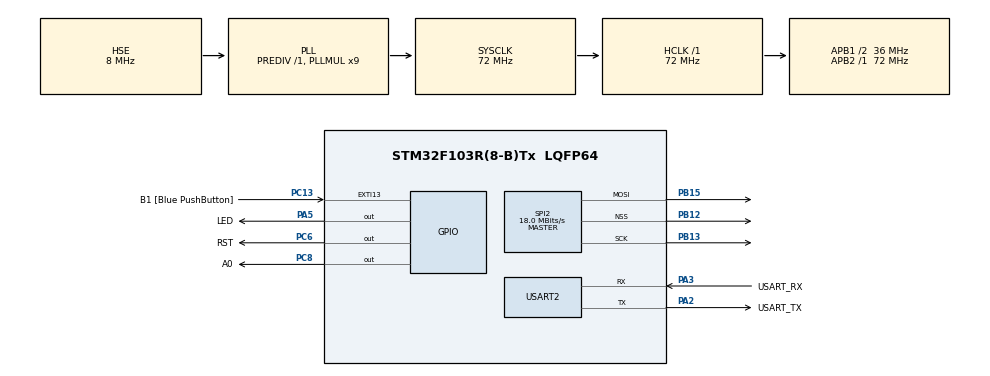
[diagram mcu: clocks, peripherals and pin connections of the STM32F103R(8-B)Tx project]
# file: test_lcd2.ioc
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Mcu.Family=STM32F1
Mcu.Name=STM32F103R(8-B)Tx
Mcu.Package=LQFP64
NVIC.EXTI15_10_IRQn=true\:0\:0\:false\:false\:true\:true\:true\:true
NVIC.PriorityGroup=NVIC_PRIORITYGROUP_4
PA13.GPIO_Label=TMS
PA13.Mode=Serial_Wire
PA13.Signal=SYS_JTMS-SWDIO
PA14.GPIO_Label=TCK
PA14.Mode=Serial_Wire
PA14.Signal=SYS_JTCK-SWCLK
PA2.GPIO_Label=USART_TX
PA2.GPIO_Mode=GPIO_MODE_AF_PP
PA2.GPIO_PuPd=GPIO_NOPULL
PA2.GPIO_Speed=GPIO_SPEED_FREQ_LOW
PA2.Mode=Asynchronous
PA2.Signal=USART2_TX
PA3.GPIO_Label=USART_RX
PA3.GPIO_Mode=GPIO_MODE_AF_PP
PA3.GPIO_PuPd=GPIO_NOPULL
PA3.GPIO_Speed=GPIO_SPEED_FREQ_LOW
PA3.Mode=Asynchronous
PA3.Signal=USART2_RX
PA5.GPIO_Label=LED
PA5.GPIO_ModeDefaultOutputPP=GPIO_MODE_OUTPUT_PP
PA5.GPIO_PuPd=GPIO_NOPULL
PA5.GPIO_Speed=GPIO_SPEED_FREQ_LOW
PA5.Signal=GPIO_Output
PB12.Mode=NSS_Signal_Hard_Output
PB12.Signal=SPI2_NSS
PB13.Mode=TX_Only_Simplex_Unidirect_Master
PB13.Signal=SPI2_SCK
PB15.Mode=TX_Only_Simplex_Unidirect_Master
PB15.Signal=SPI2_MOSI
PB3.GPIO_Label=SWO
PB3.Signal=SYS_JTDO-TRACESWO
PC13-TAMPER-RTC.GPIO_Label=B1 [Blue PushButton]
PC13-TAMPER-RTC.GPIO_PuPd=GPIO_NOPULL
PC13-TAMPER-RTC.Signal=GPXTI13
PC14-OSC32_IN.Mode=LSE-External-Oscillator
PC14-OSC32_IN.Signal=RCC_OSC32_IN
PC15-OSC32_OUT.Mode=LSE-External-Oscillator
PC15-OSC32_OUT.Signal=RCC_OSC32_OUT
PC6.GPIO_Label=RST
PC6.Signal=GPIO_Output
PC8.GPIO_Label=A0
PC8.Signal=GPIO_Output
PD0-OSC_IN.Mode=HSE-External-Clock-Source
PD0-OSC_IN.Signal=RCC_OSC_IN
PD1-OSC_OUT.Mode=HSE-External-Clock-Source
PD1-OSC_OUT.Signal=RCC_OSC_OUT
ProjectManager.HeapSize=0x200
ProjectManager.StackSize=0x400
ProjectManager.TargetToolchain=STM32CubeIDE
RCC.AHBFreq_Value=72000000
RCC.APB1CLKDivider=RCC_HCLK_DIV2
RCC.APB1Freq_Value=36000000
RCC.APB1TimFreq_Value=72000000
RCC.APB2Freq_Value=72000000
RCC.APB2TimFreq_Value=72000000
RCC.HCLKFreq_Value=72000000
RCC.PLLMUL=RCC_PLL_MUL9
RCC.PLLSourceVirtual=RCC_PLLSOURCE_HSE
RCC.RTCClockSelection=RCC_RTCCLKSOURCE_LSE
RCC.SYSCLKFreq_VALUE=72000000
RCC.SYSCLKSource=RCC_SYSCLKSOURCE_PLLCLK
RCC.USBFreq_Value=72000000
SPI2.CalculateBaudRate=18.0 MBits/s
SPI2.Direction=SPI_DIRECTION_2LINES
SPI2.Mode=SPI_MODE_MASTER
SPI2.VirtualNSS=VM_NSSHARD
SPI2.VirtualType=VM_MASTER
USART2.VirtualMode=VM_ASYNC
board=NUCLEO-F103RB

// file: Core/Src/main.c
/* USER CODE BEGIN Header */
/**
  ******************************************************************************
  * @file           : main.c
  * @brief          : Main program body
  ******************************************************************************
  * @attention
  *
  * Copyright (c) 2025 STMicroelectronics.
  * All rights reserved.
  *
  * This software is licensed under terms that can be found in the LICENSE file
  * in the root directory of this software component.
  * If no LICENSE file comes with this software, it is provided AS-IS.
  *
  ******************************************************************************
  */
/* USER CODE END Header */
#include "main.h"
#include "spi.h"
#include "usart.h"
#include "gpio.h"

/* USER CODE BEGIN Includes */
#include "lcd.h"

/* USER CODE END Includes */

// /* Private define ------------------------------------------------------------*/

/* USER CODE BEGIN PV */
unsigned char NHD[] = {
    0x00, 0x00, 0x00, 0x00, 0x00, 0x00, 0x00, 0x00, 0x00, 0x00, 0x00, 0x00, 0x00, 0x00, 0x00, 0x00,
    0x00, 0x00, 0x00, 0x00, 0x00, 0x00, 0x00, 0x00, 0x00, 0x00, 0x00, 0x00, 0x00, 0x00, 0x00, 0x00,
    0x00, 0x00, 0x00, 0x00, 0x00, 0x00, 0x00, 0x00, 0x00, 0x00, 0x00, 0x00, 0x00, 0x00, 0x00, 0x00,
    0x00, 0x00, 0x00, 0x00, 0x00, 0x00, 0x00, 0x00, 0x00, 0x00, 0x00, 0x00, 0x00, 0x00, 0x00, 0x00,
    0x00, 0x00, 0x00, 0x00, 0x00, 0x00, 0x00, 0x00, 0x00, 0x00, 0x00, 0x00, 0x00, 0x00, 0x00, 0x00,
    0x00, 0x00, 0x00, 0x00, 0x00, 0x00, 0x00, 0x00, 0x00, 0x00, 0x00, 0x00, 0x00, 0x00, 0x00, 0x00,
    0x00, 0x00, 0x00, 0x00, 0x00, 0x00, 0x00, 0x00, 0x00, 0x00, 0x00, 0x00, 0x00, 0x00, 0x00, 0x00,
    0x00, 0x00, 0x00, 0x00, 0x00, 0x00, 0x00, 0x00, 0x00, 0x00, 0x00, 0x00, 0x00, 0x00, 0x00, 0x00,
    0x00, 0x00, 0x00, 0x00, 0x00, 0x00, 0x00, 0x00, 0x00, 0x00, 0x00, 0x00, 0x00, 0x00, 0x00, 0x00,
    0x00, 0x00, 0x00, 0x00, 0x00, 0x00, 0x00, 0x00, 0x00, 0x00, 0x00, 0x00, 0x00, 0x00, 0x00, 0x00,
    0x00, 0x00, 0x00, 0x00, 0x00, 0x00, 0x00, 0x00, 0x00, 0x00, 0x00, 0x00, 0x00, 0x00, 0x00, 0x00,
    0x00, 0x00, 0x00, 0x00, 0x00, 0x00, 0x00, 0x00, 0x00, 0x00, 0x00, 0x00, 0x00, 0x00, 0x00, 0x00,
    0x00, 0x00, 0x00, 0x00, 0x00, 0x00, 0x00, 0x00, 0x00, 0x00, 0x00, 0x00, 0x00, 0x00, 0x00, 0x00,
    0x00, 0x00, 0x00, 0x00, 0x00, 0x00, 0x00, 0x00, 0x00, 0x00, 0x00, 0x00, 0x00, 0x00, 0x00, 0x00,
    0x00, 0x00, 0x00, 0x00, 0x00, 0x00, 0x00, 0x00, 0x00, 0x00, 0x00, 0x00, 0x00, 0x00, 0x00, 0x00,
    0x00, 0x00, 0x00, 0x00, 0x00, 0x00, 0x00, 0x00, 0x00, 0x00, 0x00, 0x00, 0x00, 0x00, 0x00, 0x00,
    0x00, 0x00, 0x00, 0x00, 0x00, 0x00, 0x00, 0x00, 0x00, 0x00, 0x00, 0x00, 0x00, 0x00, 0x00, 0x00,
    0x00, 0x00, 0x00, 0x00, 0x00, 0x00, 0x00, 0x00, 0x00, 0x00, 0x00, 0x00, 0x00, 0x00, 0x00, 0x00,
    0x00, 0x00, 0x00, 0x00, 0x00, 0x00, 0x00, 0x00, 0x00, 0x00, 0x00, 0x00, 0x00, 0x00, 0x00, 0x00,
    0x00, 0x00, 0x00, 0x00, 0x00, 0x00, 0x00, 0x00, 0x00, 0x00, 0x00, 0x00, 0x00, 0x00, 0x00, 0x00,
    0x00, 0x00, 0x00, 0x00, 0x00, 0x00, 0x00, 0x00, 0x00, 0x00, 0x00, 0x00, 0x00, 0x00, 0x00, 0x00,
    0x00, 0x00, 0x00, 0x00, 0x00, 0x00, 0x00, 0x00, 0x00, 0x00, 0x00, 0x00, 0x00, 0x00, 0x00, 0x00,
    0x00, 0x00, 0x00, 0x00, 0x00, 0x00, 0x00, 0x00, 0x00, 0x00, 0x00, 0x00, 0x00, 0x00, 0x00, 0x00,
    0x00, 0x00, 0x00, 0x00, 0x00, 0x00, 0x00, 0x00, 0x00, 0x00, 0x00, 0x00, 0x00, 0x00, 0x00, 0x00,
    0x00, 0x00, 0x00, 0x00, 0x00, 0x00, 0x00, 0x00, 0x00, 0x00, 0x00, 0x00, 0x00, 0x00, 0x00, 0x00,
    0x00, 0x80, 0x80, 0x80, 0x80, 0x00, 0x00, 0x1E, 0x1E, 0x3F, 0x3F, 0x1E, 0x04, 0x0C, 0x8C, 0x4C,
    0x4C, 0x2C, 0x6C, 0x6C, 0x6C, 0x6C, 0x6C, 0x4C, 0x00, 0xFC, 0x1C, 0x38, 0xC0, 0xFC, 0xFC, 0x00,
    0x00, 0x00, 0xF8, 0xFC, 0x24, 0x24, 0x24, 0x24, 0x00, 0x00, 0x00, 0x1C, 0xF8, 0x80, 0xE0, 0x3C,
    0x3C, 0xE0, 0x80, 0xE0, 0x3C, 0x00, 0x00, 0x00, 0xFC, 0xFC, 0x20, 0x20, 0x20, 0xFC, 0x00, 0x00,
    0x00, 0x00, 0xE0, 0xFC, 0xCC, 0xFC, 0xE0, 0x80, 0x00, 0x00, 0x04, 0x3C, 0xF0, 0x80, 0xC0, 0x78,
    0x1C, 0x04, 0x00, 0x60, 0xF8, 0xAC, 0x24, 0x24, 0x24, 0x00, 0x00, 0x00, 0x00, 0xFC, 0x1C, 0x38,
    0xE0, 0x80, 0xFC, 0x00, 0x00, 0x00, 0x00, 0x00, 0x00, 0x00, 0x00, 0x00, 0x00, 0x00, 0x00, 0x00,
    0x00, 0x00, 0x00, 0x00, 0x00, 0x00, 0x00, 0x00, 0x00, 0x00, 0xC0, 0xE0, 0xE0, 0xE0, 0xE0, 0x40,
    0x86, 0x8F, 0x9F, 0x9F, 0x9F, 0x83, 0x84, 0x84, 0x84, 0x84, 0x84, 0x84, 0xC2, 0x63, 0x39, 0x0C,
    0x04, 0x02, 0x03, 0x03, 0x03, 0x03, 0x03, 0x02, 0x00, 0xFB, 0x18, 0x18, 0x18, 0x3B, 0xF3, 0x00,
    0x00, 0x00, 0xF9, 0xF9, 0x03, 0x03, 0x03, 0x73, 0x78, 0x58, 0x58, 0xD8, 0xD9, 0x83, 0x03, 0x00,
    0x00, 0xFB, 0xFB, 0x99, 0x98, 0xD8, 0xF8, 0x20, 0x03, 0x03, 0xF8, 0xF8, 0x00, 0x03, 0x00, 0x00,
    0x00, 0x03, 0x81, 0xE0, 0xB8, 0xB8, 0xE1, 0x83, 0x02, 0x00, 0x00, 0x18, 0x30, 0xC3, 0xE3, 0x38,
    0x18, 0x00, 0x00, 0x00, 0x01, 0x01, 0x03, 0x03, 0x03, 0x00, 0x00, 0x00, 0x00, 0x03, 0x00, 0x00,
    0x00, 0x03, 0x03, 0x00, 0x00, 0x00, 0x00, 0x00, 0x00, 0x00, 0x00, 0x00, 0x00, 0x00, 0x00, 0x00,
    0x00, 0x00, 0x00, 0x00, 0x00, 0x00, 0x00, 0x00, 0x00, 0x00, 0x01, 0x03, 0x03, 0x03, 0x03, 0x01,
    0x01, 0x01, 0x01, 0x01, 0x01, 0x01, 0x01, 0x01, 0x01, 0x01, 0x01, 0x00, 0x00, 0x00, 0x00, 0x00,
    0x00, 0x00, 0x00, 0x00, 0x00, 0x00, 0x00, 0x00, 0x00, 0x07, 0x06, 0x06, 0x06, 0x03, 0x03, 0x00,
    0x00, 0x00, 0x07, 0x07, 0x00, 0x00, 0x00, 0x02, 0x06, 0x06, 0x06, 0x06, 0x03, 0x03, 0x00, 0x00,
    0x00, 0x07, 0x07, 0x00, 0x00, 0x00, 0x00, 0x00, 0x00, 0x00, 0x01, 0x03, 0x06, 0x06, 0x06, 0x00,
    0x00, 0x04, 0x07, 0x01, 0x01, 0x01, 0x01, 0x07, 0x06, 0x00, 0x00, 0x00, 0x00, 0x07, 0x03, 0x00,
    0x00, 0x00, 0x00, 0x00, 0x00, 0x00, 0x00, 0x00, 0x00, 0x00, 0x00, 0x00, 0x00, 0x00, 0x00, 0x00,
    0x00, 0x00, 0x00, 0x00, 0x00, 0x00, 0x00, 0x00, 0x00, 0x00, 0x00, 0x00, 0x00, 0x00, 0x00, 0x00,
    0x00, 0x00, 0x00, 0x00, 0x00, 0x00, 0x00, 0x00, 0x00, 0x00, 0x00, 0x00, 0x00, 0x00, 0x00, 0x00,
    0x00, 0x00, 0x00, 0x00, 0x00, 0x00, 0x00, 0x00, 0x00, 0x00, 0x00, 0x00, 0x00, 0x00, 0x00, 0x00,
    0x00, 0x00, 0x00, 0x00, 0x00, 0x00, 0x00, 0x00, 0x00, 0x00, 0x00, 0x00, 0x00, 0x00, 0x00, 0x00,
    0x00, 0x00, 0x00, 0x00, 0x00, 0x00, 0x00, 0x00, 0x00, 0x00, 0x00, 0x00, 0x00, 0x00, 0x00, 0x00,
    0x00, 0x00, 0x00, 0x00, 0x00, 0x00, 0x00, 0x00, 0x00, 0x00, 0x00, 0x00, 0x00, 0x00, 0x00, 0x00,
    0x00, 0x00, 0x00, 0x00, 0x00, 0x00, 0x00, 0x00, 0x00, 0x00, 0x00, 0x00, 0x00, 0x00, 0x00, 0x00,
    0x00, 0x00, 0x00, 0x00, 0x00, 0x00, 0x00, 0x00, 0x00, 0x00, 0x00, 0x00, 0x00, 0x00, 0x00, 0x00,
    0x00, 0x00, 0x00, 0x00, 0x00, 0x00, 0x00, 0x00, 0x00, 0x00, 0x00, 0x00, 0x00, 0x00, 0x00, 0x00,
    0x00, 0x00, 0x00, 0x00, 0x00, 0x00, 0x00, 0x00, 0x00, 0x00, 0x00, 0x00, 0x00, 0x00, 0x00, 0x00,
    0x00, 0x00, 0x00, 0x00, 0x00, 0x00, 0x00, 0x00, 0x00, 0x00, 0x00, 0x00, 0x00, 0x00, 0x00, 0x00,
    0x00, 0x00, 0x00, 0x00, 0x00, 0x00, 0x00, 0x00, 0x00, 0x00, 0x00, 0x00, 0x00, 0x00, 0x00, 0x00,
    0x00, 0x00, 0x00, 0x00, 0x00, 0x00, 0x00, 0x00, 0x00, 0x00, 0x00, 0x00, 0x00, 0x00, 0x00, 0x00,
    0x00, 0x00, 0x00, 0x00, 0x00, 0x00, 0x00, 0x00, 0x00, 0x00, 0x00, 0x00, 0x00, 0x00, 0x00, 0x00,
    0x00, 0x00, 0x00, 0x00, 0x00, 0x00, 0x00, 0x00, 0x00, 0x00, 0x00, 0x00, 0x00, 0x00, 0x00, 0x00,
    0x00, 0x00, 0x00, 0x00, 0x00, 0x00, 0x00, 0x00, 0x00, 0x00, 0x00, 0x00, 0x00, 0x00, 0x00, 0x00,
    0x00, 0x00, 0x00, 0x00, 0x00, 0x00, 0x00, 0x00, 0x00, 0x00, 0x00, 0x00, 0x00, 0x00, 0x00, 0x00};
/* USER CODE END PV */

void SystemClock_Config(void);

/* USER CODE BEGIN 0 */

void LCD_WriteCommand(uint8_t cmd) {
    // HAL_GPIO_WritePin(CS, CS_Pin, GPIO_PIN_RESET); // CS = 0 to select
    HAL_GPIO_WritePin(A0_GPIO_Port, A0_Pin, GPIO_PIN_RESET); // A0 = 0 for command

    // TODO: Send `cmd` over SPI (not implemented yet)
    uint8_t cmd_arr[1] = {cmd};
    HAL_SPI_Transmit(&hspi2, &cmd_arr[0], 1, 10);

    // HAL_GPIO_WritePin(CS_GPIO_Port, CS_Pin, GPIO_PIN_SET); // CS = 0 to select
}

void LCD_WriteData(uint8_t data) {
    // HAL_GPIO_WritePin(CS_GPIO_Port, CS_Pin, GPIO_PIN_RESET); // CS = 0 to select
    HAL_GPIO_WritePin(A0_GPIO_Port, A0_Pin, GPIO_PIN_SET); // A0 = A0 = 1 for data

    uint8_t data_arr[1] = {data};
    HAL_SPI_Transmit(&hspi2, &data_arr[0], 1, 10);
    // SPI_Write(data); // Send command manually

    // HAL_GPIO_WritePin(CS_GPIO_Port, CS_Pin, GPIO_PIN_SET); // CS = 0 to select
}

void init_LCD()
{
  LCD_WriteCommand(0xA0); // ADC select
  LCD_WriteCommand(0xAE); // Display OFF
  LCD_WriteCommand(0xC8); // COM direction scan
  LCD_WriteCommand(0xA2); // LCD bias set
  LCD_WriteCommand(0x2F); // Power Control set
  LCD_WriteCommand(0x26); // Resistor Ratio Set
  LCD_WriteCommand(0x81); // Electronic Volume Command (set contrast) Double Byte: 1 of 2
  LCD_WriteCommand(0x11); // Electronic Volume value (contrast value) Double Byte: 2 of 2
  LCD_WriteCommand(0xAF); // Display ON
}

void ClearLCD(unsigned char *lcd_string)
{
  unsigned int i, j;
  unsigned char page = 0xB0;
  LCD_WriteCommand(0xAE); // Display OFF
  LCD_WriteCommand(0x40); // Display start address + 0x40
  for (i = 0; i < 8; i++)
  {                   // 64 pixel display / 8 pixels per page = 8 pages
    LCD_WriteCommand(page); // send page address
    LCD_WriteCommand(0x10); // column address upper 4 bits + 0x10
    LCD_WriteCommand(0x00); // column address lower 4 bits + 0x00
    for (j = 0; j < 128; j++)
    {                   // 128 columns wide
      LCD_WriteData(0x00); // write clear pixels
      lcd_string++;
    }
    page++; // after 128 columns, go to next page
  }
  LCD_WriteCommand(0xAF);
}

void DispPic(unsigned char *lcd_string)
{
  unsigned int i, j;
  unsigned char page = 0xB0;
  LCD_WriteCommand(0xAE); // Display OFF
  LCD_WriteCommand(0x40); // Display start address + 0x40
  for (i = 0; i < 8; i++)
  {                   // 64 pixel display / 8 pixels per page = 8 pages
    LCD_WriteCommand(page); // send page address
    LCD_WriteCommand(0x10); // column address upper 4 bits + 0x10
    LCD_WriteCommand(0x00); // column address lower 4 bits + 0x00
    for (j = 0; j < 128; j++)
    {                          // 128 columns wide
      LCD_WriteData(*lcd_string); // send picture data
      lcd_string++;
    }
    page++; // after 128 columns, go to next page
  }
  LCD_WriteCommand(0xAF);
}

/* USER CODE END 0 */

int main(void)
{

  /* MCU Configuration--------------------------------------------------------*/

  /* Reset of all peripherals, Initializes the Flash interface and the Systick. */
  HAL_Init();

  /* Configure the system clock */
  SystemClock_Config();

  /* Initialize all configured peripherals */
  MX_GPIO_Init();
  MX_USART2_UART_Init();
  MX_SPI2_Init();
  /* USER CODE BEGIN 2 */

    // init_LCD();
    LCD_init(&hspi2);
    // HAL_Delay(100);
    // LCD_clear();
    // LCD_WriteCommand(0xA5); // Turn all points ON

  /* USER CODE END 2 */

  /* Infinite loop */
  /* USER CODE BEGIN WHILE */

    int v1 = 0;
    float v2 = -20;

    // char k[] = "69";
    // draw_text(k, 45, 25, Verdana32, 2);
    // glcd_refresh();

  while (1)
  {
    /* USER CODE END WHILE */
    /* USER CODE BEGIN 3 */
    // LCD_display_data_field_0(v1);
    // LCD_display_data_field_1(v2);
    LCD_display_power_bar(v2, 130.0f);
    LCD_display_speed(v1 % 100, 1);
    LCD_display_drive_state(v1 % 5);
    LCD_display_SOC(v1 % 101);

    ++v1;
    v2 += 0.4;
    // v2 = v2 + 1.0;
    HAL_Delay(200);
    // ClearLCD(NHD); // clear LCD
    // HAL_Delay(1000);
    // DispPic(NHD); // Show Image
    // LCD_WriteCommand(0xA5); // Turn all points ON
    // HAL_Delay(1000);
    // LCD_WriteCommand(0xA4); // Revert to Normal Display
    // HAL_Delay(1000);
  }
  /* USER CODE END 3 */
}

void SystemClock_Config(void)
{
  RCC_OscInitTypeDef RCC_OscInitStruct = {0};
  RCC_ClkInitTypeDef RCC_ClkInitStruct = {0};

  /** Initializes the RCC Oscillators according to the specified parameters
  * in the RCC_OscInitTypeDef structure.
  */
  RCC_OscInitStruct.OscillatorType = RCC_OSCILLATORTYPE_HSE;
  RCC_OscInitStruct.HSEState = RCC_HSE_BYPASS;
  RCC_OscInitStruct.HSEPredivValue = RCC_HSE_PREDIV_DIV1;
  RCC_OscInitStruct.HSIState = RCC_HSI_ON;
  RCC_OscInitStruct.PLL.PLLState = RCC_PLL_ON;
  RCC_OscInitStruct.PLL.PLLSource = RCC_PLLSOURCE_HSE;
  RCC_OscInitStruct.PLL.PLLMUL = RCC_PLL_MUL9;
  if (HAL_RCC_OscConfig(&RCC_OscInitStruct) != HAL_OK)
  {
    Error_Handler();
  }

  /** Initializes the CPU, AHB and APB buses clocks
  */
  RCC_ClkInitStruct.ClockType = RCC_CLOCKTYPE_HCLK|RCC_CLOCKTYPE_SYSCLK
                              |RCC_CLOCKTYPE_PCLK1|RCC_CLOCKTYPE_PCLK2;
  RCC_ClkInitStruct.SYSCLKSource = RCC_SYSCLKSOURCE_PLLCLK;
  RCC_ClkInitStruct.AHBCLKDivider = RCC_SYSCLK_DIV1;
  RCC_ClkInitStruct.APB1CLKDivider = RCC_HCLK_DIV2;
  RCC_ClkInitStruct.APB2CLKDivider = RCC_HCLK_DIV1;

  if (HAL_RCC_ClockConfig(&RCC_ClkInitStruct, FLASH_LATENCY_2) != HAL_OK)
  {
    Error_Handler();
  }
}

void Error_Handler(void)
{
  __disable_irq();
  while (1)
  {
  }
}
